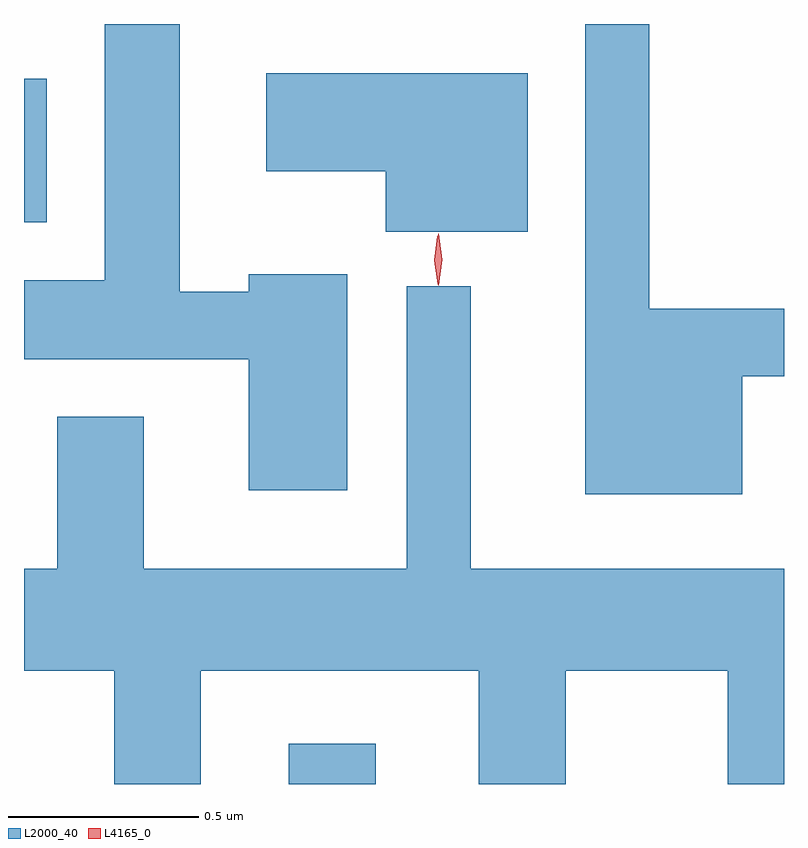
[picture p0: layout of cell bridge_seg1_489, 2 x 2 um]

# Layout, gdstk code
import gdstk
lib = gdstk.Library(unit=1e-6, precision=1e-09)
def R(c, l, rs):  # rectangles x0, y0, x1, y1
    for r in rs: c.add(gdstk.rectangle(r[:2], r[2:], *l))
def P(c, l, *ps):  # polygons
    for p in ps: c.add(gdstk.Polygon(p, *l))
L2000_40 = (2000, 40)
L4165_0 = (4165, 0)

bridge_seg1_489 = lib.new_cell('bridge_seg1_489')
R(bridge_seg1_489, L2000_40, [(208.011,857.098,208.239,857.204), (207.314,858.576,207.374,858.954)])
P(bridge_seg1_489, L2000_40, [(208.164,858.439),(207.906,858.439),(207.906,858.394),(207.724,858.394),(207.724,859.098),(207.526,859.098),(207.526,858.424),(207.314,858.424),(207.314,858.216),(207.906,858.216),(207.906,857.871),(208.164,857.871)],
  [(209.204,858.171),(209.314,858.171),(209.314,858.349),(208.959,858.349),(208.959,859.098),(208.791,859.098),(208.791,857.861),(209.204,857.861)],
  [(208.639,858.969),(207.951,858.969),(207.951,858.711),(208.266,858.711),(208.266,858.551),(208.639,858.551)],
  [(207.779,857.396),(208.511,857.396),(208.511,857.098),(208.739,857.098),(208.739,857.396),(209.166,857.396),(209.166,857.098),(209.314,857.098),(209.314,857.664),(208.489,857.664),(208.489,858.408),(208.321,858.408),(208.321,857.664),(207.629,857.664),(207.629,858.064),(207.401,858.064),(207.401,857.664),(207.314,857.664),(207.314,857.396),(207.551,857.396),(207.551,857.098),(207.779,857.098)])
P(bridge_seg1_489, L4165_0, [(208.403,858.413),(208.403,858.413),(208.393,858.476),(208.402,858.54),(208.402,858.54),(208.403,858.54),(208.413,858.477),(208.404,858.413)],
  [(208.404,858.41),(208.404,858.41),(208.394,858.478),(208.404,858.546),(208.404,858.546),(208.405,858.546),(208.414,858.478),(208.405,858.41)])

lib.write_gds('bridge_seg1_489.gds')
